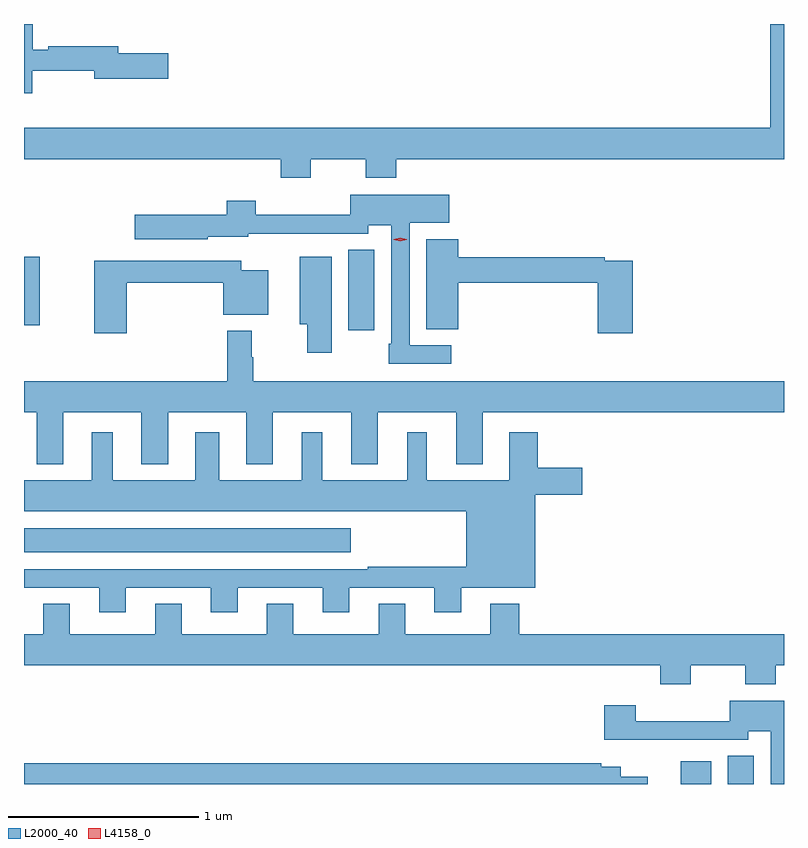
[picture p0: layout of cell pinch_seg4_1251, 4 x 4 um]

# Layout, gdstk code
import gdstk
lib = gdstk.Library(unit=1e-6, precision=1e-09)
def R(c, l, rs):  # rectangles x0, y0, x1, y1
    for r in rs: c.add(gdstk.rectangle(r[:2], r[2:], *l))
def P(c, l, *ps):  # polygons
    for p in ps: c.add(gdstk.Polygon(p, *l))
L2000_40 = (2000, 40)
L4158_0 = (4158, 0)

pinch_seg4_1251 = lib.new_cell('pinch_seg4_1251')
R(pinch_seg4_1251, L2000_40, [(223.487,757.567,223.648,757.687), (223.736,757.567,223.873,757.715), (220.031,758.786,221.752,758.914), (221.738,759.954,221.875,760.379), (220.031,759.982,220.114,760.342)])
P(pinch_seg4_1251, L2000_40, [(221.541,760.856),(221.83,760.856),(221.83,760.757),(221.99,760.757),(221.99,760.856),(224.031,760.856),(224.031,761.567),(223.958,761.567),(223.958,761.02),(220.031,761.02),(220.031,760.856),(221.381,760.856),(221.381,760.757),(221.541,760.757)],
  [(220.075,761.322),(220.4,761.322),(220.4,761.279),(220.789,761.279),(220.789,761.414),(220.528,761.414),(220.528,761.45),(220.159,761.45),(220.159,761.432),(220.078,761.432),(220.078,761.567),(220.031,761.567),(220.031,761.202),(220.075,761.202)],
  [(222.28,759.876),(222.06,759.876),(222.06,760.52),(222.268,760.52),(222.268,760.669),(221.748,760.669),(221.748,760.562),(221.252,760.562),(221.252,760.636),(221.099,760.636),(221.099,760.563),(220.614,760.563),(220.614,760.433),(220.998,760.433),(220.998,760.446),(221.211,760.446),(221.211,760.463),(221.432,760.463),(221.432,760.464),(221.844,760.464),(221.844,760.508),(221.964,760.508),(221.964,759.883),(221.952,759.883),(221.952,759.78),(222.28,759.78)],
  [(223.235,760.32),(223.088,760.32),(223.088,760.34),(222.316,760.34),(222.316,760.435),(222.149,760.435),(222.149,759.961),(222.316,759.961),(222.316,760.204),(223.052,760.204),(223.052,759.939),(223.235,759.939)],
  [(221.65,760.342),(221.483,760.342),(221.483,759.986),(221.521,759.986),(221.521,759.837),(221.65,759.837)],
  [(220.571,760.204),(221.079,760.204),(221.079,760.037),(221.317,760.037),(221.317,760.27),(221.175,760.27),(221.175,760.32),(220.4,760.32),(220.4,759.939),(220.571,759.939)],
  [(220.031,759.524),(220.097,759.524),(220.097,759.251),(220.237,759.251),(220.237,759.524),(220.649,759.524),(220.649,759.251),(220.789,759.251),(220.789,759.524),(221.201,759.524),(221.201,759.251),(221.341,759.251),(221.341,759.524),(221.753,759.524),(221.753,759.251),(221.893,759.251),(221.893,759.524),(222.305,759.524),(222.305,759.251),(222.445,759.251),(222.445,759.524),(224.031,759.524),(224.031,759.688),(221.237,759.688),(221.237,759.812),(221.23,759.812),(221.23,759.952),(221.101,759.952),(221.101,759.688),(220.031,759.688)],
  [(220.567,758.601),(221.015,758.601),(221.015,758.472),(221.155,758.472),(221.155,758.601),(221.603,758.601),(221.603,758.472),(221.743,758.472),(221.743,758.601),(222.191,758.601),(222.191,758.472),(222.331,758.472),(222.331,758.6),(222.721,758.6),(222.721,759.089),(222.97,759.089),(222.97,759.231),(222.734,759.231),(222.734,759.418),(222.584,759.418),(222.584,759.166),(222.151,759.166),(222.151,759.418),(222.047,759.418),(222.047,759.166),(221.602,759.166),(221.602,759.418),(221.492,759.418),(221.492,759.166),(221.059,759.166),(221.059,759.418),(220.931,759.418),(220.931,759.166),(220.498,759.166),(220.498,759.418),(220.388,759.418),(220.388,759.166),(220.031,759.166),(220.031,759.002),(222.359,759.002),(222.359,758.71),(221.839,758.71),(221.839,758.697),(220.031,758.697),(220.031,758.601),(220.427,758.601),(220.427,758.472),(220.567,758.472)],
  [(222.485,758.515),(222.485,758.356),(222.037,758.356),(222.037,758.516),(221.897,758.516),(221.897,758.356),(221.449,758.356),(221.449,758.516),(221.309,758.516),(221.309,758.356),(220.861,758.356),(220.861,758.516),(220.721,758.516),(220.721,758.356),(220.273,758.356),(220.273,758.516),(220.133,758.516),(220.133,758.356),(220.031,758.356),(220.031,758.192),(223.379,758.192),(223.379,758.093),(223.539,758.093),(223.539,758.192),(223.828,758.192),(223.828,758.093),(223.988,758.093),(223.988,758.192),(224.031,758.192),(224.031,758.356),(222.638,758.356),(222.638,758.515)],
  [(224.031,758.005),(223.746,758.005),(223.746,757.898),(223.25,757.898),(223.25,757.981),(223.085,757.981),(223.085,757.799),(223.333,757.799),(223.333,757.8),(223.842,757.8),(223.842,757.844),(223.962,757.844),(223.962,757.567),(224.031,757.567)],
  [(223.315,757.606),(223.173,757.606),(223.173,757.657),(223.07,757.657),(223.07,757.676),(220.031,757.676),(220.031,757.567),(223.315,757.567)])
P(pinch_seg4_1251, L4158_0, [(222.011,760.423),(221.977,760.432),(221.977,760.433),(221.977,760.433),(222.011,760.443),(222.046,760.433),(222.046,760.433),(222.046,760.432)])

lib.write_gds('pinch_seg4_1251.gds')
